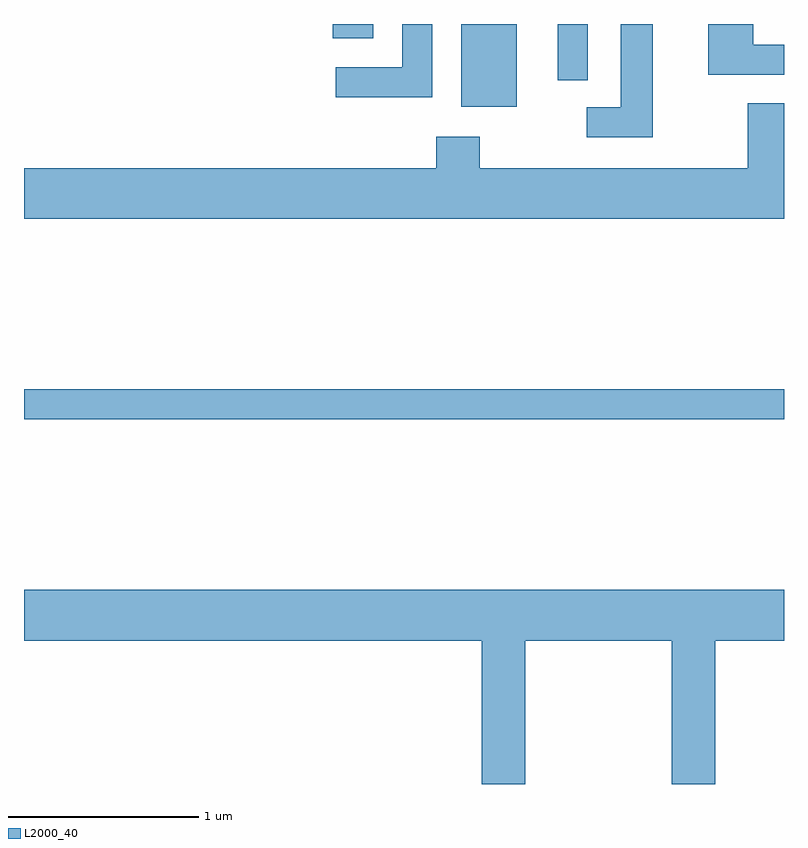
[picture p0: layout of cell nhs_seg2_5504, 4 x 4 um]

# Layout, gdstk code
import gdstk
lib = gdstk.Library(unit=1e-6, precision=1e-09)
def R(c, l, rs):  # rectangles x0, y0, x1, y1
    for r in rs: c.add(gdstk.rectangle(r[:2], r[2:], *l))
def P(c, l, *ps):  # polygons
    for p in ps: c.add(gdstk.Polygon(p, *l))
L2000_40 = (2000, 40)

nhs_seg2_5504 = lib.new_cell('nhs_seg2_5504')
R(nhs_seg2_5504, L2000_40, [(347.611,1031.721,351.611,1031.879), (349.911,1033.366,350.204,1033.802), (350.421,1033.507,350.579,1033.802), (349.236,1033.726,349.449,1033.802)])
P(nhs_seg2_5504, L2000_40, [(349.759,1033.802),(349.601,1033.802),(349.601,1033.574),(349.253,1033.574),(349.253,1033.416),(349.759,1033.416)],
  [(350.919,1033.802),(350.751,1033.802),(350.751,1033.364),(350.573,1033.364),(350.573,1033.206),(350.919,1033.206)],
  [(351.611,1033.694),(351.449,1033.694),(351.449,1033.802),(351.211,1033.802),(351.211,1033.536),(351.611,1033.536)],
  [(351.611,1033.384),(351.421,1033.384),(351.421,1033.044),(350.009,1033.044),(350.009,1033.209),(349.781,1033.209),(349.781,1033.044),(347.611,1033.044),(347.611,1032.776),(351.611,1032.776)],
  [(350.249,1030.556),(351.021,1030.556),(351.021,1029.802),(351.249,1029.802),(351.249,1030.556),(351.611,1030.556),(351.611,1030.824),(347.611,1030.824),(347.611,1030.556),(350.021,1030.556),(350.021,1029.802),(350.249,1029.802)])

lib.write_gds('nhs_seg2_5504.gds')
